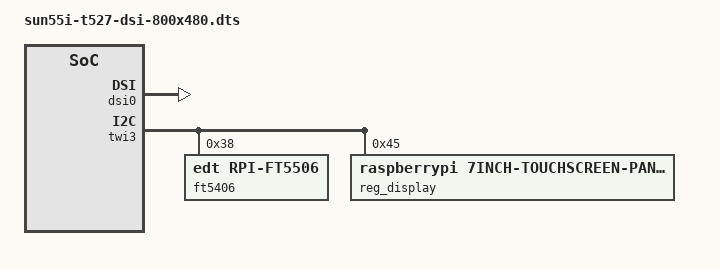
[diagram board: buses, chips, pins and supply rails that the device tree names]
/dts-v1/;
/plugin/;

/ {
	fragment@0 {
		target-path = "/";
		__overlay__ {
			panel_dsi: panel_dsi {
				status = "okay";
				// enable0-gpios = <&pio PH 9 GPIO_ACTIVE_HIGH>;
				// enable1-gpios = <&pio PH 10 GPIO_ACTIVE_HIGH>;
				enable-delay-ms = <10>;
				// reset-gpios = <&pio PD 21 GPIO_ACTIVE_HIGH>;
				reset-on-sequence = <1 10>, <0 20>, <1 100>;
				reset-off-sequence = <0 100>;
				backlight = <&reg_display>;
				dsi,flags = <1>;//MIPI_DSI_MODE_VIDEO
				dsi,lanes = <1>;
				dsi,format = <0>;
				panel-init-sequence = [
				
				];
				panel-exit-sequence = [
				
				];
				display-timings {
					native-mode = <&timing0>;
					timing0: timing0 {
						clock-frequency = <27777000>; /* pixel clock */
						hback-porch = <45>;
						hactive = <800>;
						hfront-porch = <59>;
						hsync-len = <10>;
						vback-porch = <50>;
						vactive = <480>;
						vfront-porch = <20>;
						vsync-len = <2>;
						
					};
				};
			};
		};
	};
	fragment@1 {
		target = <&dsi0>;
		__overlay__ {
			#address-cells = <1>;
			#size-cells = <0>;
			status = "okay";
			
		};
	};
	fragment@2 {
		target = <&twi3>;
		__overlay__ {
			#address-cells = <1>;
			#size-cells = <0>;
			ft5406: ts@38 {
				compatible = "edt,rpi-ft5506";
				reg = <0x38>;
				touchscreen-size-x = < 800 >;
				touchscreen-size-y = < 480 >;
			};
			reg_display: reg_display@45 {
				compatible = "raspberrypi,7inch-touchscreen-panel-regulator";
				reg = <0x45>;
				gpio-controller;
				#gpio-cells = <2>;
			};
		};
	};
};

